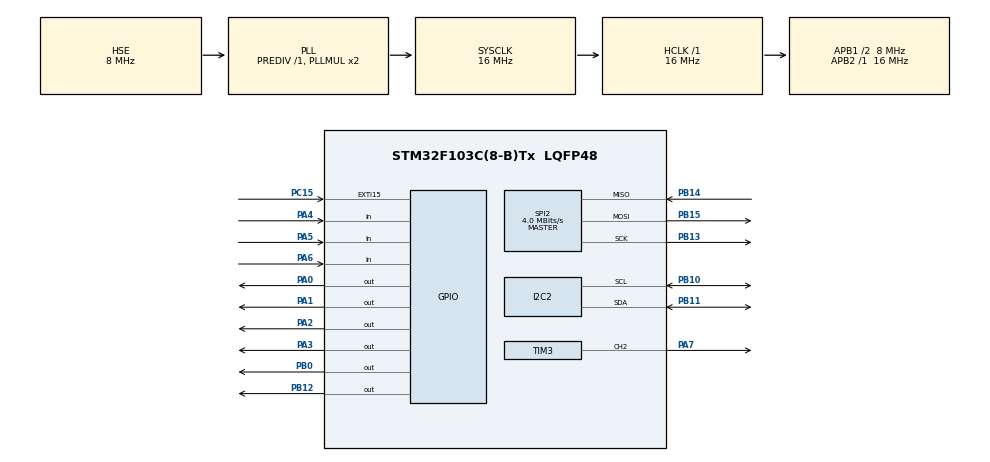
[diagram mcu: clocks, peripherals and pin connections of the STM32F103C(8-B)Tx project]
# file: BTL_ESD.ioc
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I2C2.I2C_Mode=I2C_Fast
Mcu.Family=STM32F1
Mcu.Name=STM32F103C(8-B)Tx
Mcu.Package=LQFP48
NVIC.EXTI15_10_IRQn=true\:0\:0\:false\:false\:true\:true\:true\:true
NVIC.PriorityGroup=NVIC_PRIORITYGROUP_4
PA0-WKUP.Signal=GPIO_Output
PA1.Signal=GPIO_Output
PA13.Mode=Serial_Wire
PA13.Signal=SYS_JTMS-SWDIO
PA14.Mode=Serial_Wire
PA14.Signal=SYS_JTCK-SWCLK
PA2.Signal=GPIO_Output
PA3.Signal=GPIO_Output
PA4.GPIO_PuPd=GPIO_PULLUP
PA4.Signal=GPIO_Input
PA5.GPIO_PuPd=GPIO_PULLUP
PA5.Signal=GPIO_Input
PA6.GPIO_PuPd=GPIO_PULLUP
PA6.Signal=GPIO_Input
PA7.Signal=S_TIM3_CH2
PB0.Signal=GPIO_Output
PB10.Mode=I2C
PB10.Signal=I2C2_SCL
PB11.Mode=I2C
PB11.Signal=I2C2_SDA
PB12.Signal=GPIO_Output
PB13.Mode=Full_Duplex_Master
PB13.Signal=SPI2_SCK
PB14.Mode=Full_Duplex_Master
PB14.Signal=SPI2_MISO
PB15.Mode=Full_Duplex_Master
PB15.Signal=SPI2_MOSI
PC15-OSC32_OUT.GPIO_ModeDefaultEXTI=GPIO_MODE_IT_FALLING
PC15-OSC32_OUT.GPIO_PuPd=GPIO_PULLUP
PC15-OSC32_OUT.Signal=GPXTI15
PD0-OSC_IN.Mode=HSE-External-Oscillator
PD0-OSC_IN.Signal=RCC_OSC_IN
PD1-OSC_OUT.Mode=HSE-External-Oscillator
PD1-OSC_OUT.Signal=RCC_OSC_OUT
ProjectManager.HeapSize=0x200
ProjectManager.StackSize=0x400
ProjectManager.TargetToolchain=MDK-ARM V5.32
RCC.AHBFreq_Value=16000000
RCC.APB1CLKDivider=RCC_HCLK_DIV2
RCC.APB1Freq_Value=8000000
RCC.APB1TimFreq_Value=16000000
RCC.APB2Freq_Value=16000000
RCC.APB2TimFreq_Value=16000000
RCC.HCLKFreq_Value=16000000
RCC.PLLSourceVirtual=RCC_PLLSOURCE_HSE
RCC.SYSCLKFreq_VALUE=16000000
RCC.SYSCLKSource=RCC_SYSCLKSOURCE_PLLCLK
RCC.USBFreq_Value=16000000
SH.S_TIM3_CH2.0=TIM3_CH2,PWM Generation2 CH2
SPI2.CalculateBaudRate=4.0 MBits/s
SPI2.Direction=SPI_DIRECTION_2LINES
SPI2.Mode=SPI_MODE_MASTER
SPI2.VirtualType=VM_MASTER
TIM3.Channel-PWM\ Generation2\ CH2=TIM_CHANNEL_2
TIM3.OCPolarity_2=TIM_OCPOLARITY_HIGH
TIM3.Period=19999
TIM3.Prescaler=15
VP_TIM3_VS_ClockSourceINT.Mode=Internal
board=custom

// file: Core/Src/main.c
/* USER CODE BEGIN Header */
/**
  ******************************************************************************
  * @file           : main.c
  * @brief          : Main program body
  ******************************************************************************
  * @attention
  *
  * Copyright (c) 2024 STMicroelectronics.
  * All rights reserved.
  *
  * This software is licensed under terms that can be found in the LICENSE file
  * in the root directory of this software component.
  * If no LICENSE file comes with this software, it is provided AS-IS.
  *
  ******************************************************************************
  */
/* USER CODE END Header */
#include "main.h"

/* USER CODE BEGIN Includes */
#include "string.h"
#include "stdio.h"
#include "flash.h"
#include "rc522.h"

/* USER CODE END Includes */

/* USER CODE BEGIN PD */
#define LCD_BACKLIGHT 0x08     // Turn on light
#define LCD_NOBACKLIGHT 0x00  // Turn off light
#define addr_pcf8574 0x4E
#define address_so_luong_the_storage 0x08000000 + 61*1024 //page 61
#define address_password_storage 0x08000000 + 62*1024	//page 62
//
#define address_master_card_delete_storage 0x08000000 + 63*1024 //page 63
#define address_master_card_add_storage 0x08000000 + 64*1024 //page 64
//
/* USER CODE END PD */

I2C_HandleTypeDef hi2c2;

SPI_HandleTypeDef hspi2;

TIM_HandleTypeDef htim3;

void SystemClock_Config(void);
static void MX_GPIO_Init(void);
static void MX_TIM3_Init(void);
static void MX_SPI2_Init(void);
static void MX_I2C2_Init(void);
/* USER CODE BEGIN PFP */
void send_command(uint8_t data) {
	uint8_t buf[4] = {
        (data & 0xF0) | 0x04 | LCD_BACKLIGHT, // 4 bit hight + EN = 1 + Backlight
        (data & 0xF0) | LCD_BACKLIGHT,       // 4 bit hight + EN = 0 + Backlight
        (data << 4) | 0x04 | LCD_BACKLIGHT,  // 4 bit low + EN = 1 + Backlight
        (data << 4) | LCD_BACKLIGHT          // 4 bit low + EN = 0 + Backlight
    };
    HAL_I2C_Master_Transmit(&hi2c2, addr_pcf8574, buf, 4, HAL_MAX_DELAY);
}
//
void send_data(uint8_t data) {
    uint8_t buf[4] = {
        (data & 0xF0) | 0x05 |LCD_BACKLIGHT, // 4 bit hight + RS=1 + EN=1 + Backlight
        (data & 0xF0) | 0x01 | LCD_BACKLIGHT, // 4 bit hight + RS=1 + EN=0 + Backlight
        (data << 4) | 0x05 | LCD_BACKLIGHT,   // 4 bit low + RS=1 + EN=1 + Backlight
        (data << 4) | 0x01 | LCD_BACKLIGHT    // 4 bit low + RS=1 + EN=0 + Backlight
    };
    HAL_I2C_Master_Transmit(&hi2c2, addr_pcf8574, buf, 4, HAL_MAX_DELAY);
}
//
void LCD_Init()
{
	send_command(0x33); //lenh de khoi tao
	send_command(0x32); //lenh de khoi tao
	send_command(0x28); // 4bit,2hang, font 5x7
	send_command(0x0C); //hien thi man hinh va tat con tro
	send_command(0x06); //tang con tro
	send_command(0x01); // xoa man hinh
	HAL_Delay(1);
}
//ham xoa man hinh
void LCD_CLEAR_SCREEN()
{
	send_command(0x01);
	HAL_Delay(1);
}
// ham chon vi tri hien thi
void LCD_LOCATION(uint8_t x,uint8_t y) // x la hang, y la cot
{
if (x==1)
	send_command(0x80+y);
else if(x==2)
	send_command(0xC0+y);

}
//ham ghi chuoi
void LCD_WRITE_STRING(char *string)
{
	for (uint8_t i=0;i<strlen(string);i++)
	{
		send_data(string[i]);
	}
}
// ham ghi so
void LCD_WRITE_NUMBER(int number)
{
	char buffer[8];
	sprintf(buffer,"%d",number);
	LCD_WRITE_STRING(buffer);
}
//HAM CHAY CHUOI TU PHAI QUA TRAI
void data_run(uint8_t a,int speed,char* chuoi)
{
	int count=strlen(chuoi); //chieu dai cua chuoi
	char destination[count]; //mang chua chuoi
	strcpy(destination, chuoi);//dua chuoi vao mang
	for (int i=0;i<=count;i++)

		{
			LCD_LOCATION(a,0);
			for (int j=i;j<i+16;j++)
			{

				send_data(destination[j]);
				HAL_Delay(1);
				if(j==count-1)goto EXIT;
			}
			HAL_Delay(speed);
		}
		EXIT:;
}

//HAM QUET KEYPAB
	uint8_t SCAN()
{
uint8_t KEY=255;
	while(1)
{
	//DOC HANG 1
	HAL_GPIO_WritePin(GPIOA,(GPIO_PIN_0|GPIO_PIN_1|GPIO_PIN_2|GPIO_PIN_3),GPIO_PIN_SET);
	HAL_GPIO_WritePin(GPIOA,GPIO_PIN_0,GPIO_PIN_RESET);
	if((HAL_GPIO_ReadPin(GPIOA,GPIO_PIN_4))==0)
	{
			HAL_Delay(20);
			while((HAL_GPIO_ReadPin(GPIOA,GPIO_PIN_4))==0){}
			KEY=1;
		return KEY;

	}
	if((HAL_GPIO_ReadPin(GPIOA,GPIO_PIN_5))==0)
	{
		HAL_Delay(20);
		while((HAL_GPIO_ReadPin(GPIOA,GPIO_PIN_5))==0){}
		KEY=2;
		return KEY;
	}
	if((HAL_GPIO_ReadPin(GPIOA,GPIO_PIN_6))==0)
	{
		HAL_Delay(20);
		while((HAL_GPIO_ReadPin(GPIOA,GPIO_PIN_6))==0){}
		KEY=3;
		return KEY;
	}
	//DOC HANG 2
	HAL_GPIO_WritePin(GPIOA,(GPIO_PIN_0|GPIO_PIN_1|GPIO_PIN_2|GPIO_PIN_3),GPIO_PIN_SET);
	HAL_GPIO_WritePin(GPIOA,GPIO_PIN_1,GPIO_PIN_RESET);
	if((HAL_GPIO_ReadPin(GPIOA,GPIO_PIN_4))==0)
	{
		HAL_Delay(20);
		while((HAL_GPIO_ReadPin(GPIOA,GPIO_PIN_4))==0){}
		KEY=4;
		return KEY;
	}
	if((HAL_GPIO_ReadPin(GPIOA,GPIO_PIN_5))==0)
	{
		HAL_Delay(20);
		while((HAL_GPIO_ReadPin(GPIOA,GPIO_PIN_5))==0){}
		KEY=5;
		return KEY;
	}
	if((HAL_GPIO_ReadPin(GPIOA,GPIO_PIN_6))==0)
	{
		HAL_Delay(20);
		while((HAL_GPIO_ReadPin(GPIOA,GPIO_PIN_6))==0){}
		KEY=6;
		return KEY;
	}
	//DOC HANG 3
	HAL_GPIO_WritePin(GPIOA,(GPIO_PIN_0|GPIO_PIN_1|GPIO_PIN_2|GPIO_PIN_3),GPIO_PIN_SET);
	HAL_GPIO_WritePin(GPIOA,GPIO_PIN_2,GPIO_PIN_RESET);
	if((HAL_GPIO_ReadPin(GPIOA,GPIO_PIN_4))==0)
	{
		HAL_Delay(20);
		while((HAL_GPIO_ReadPin(GPIOA,GPIO_PIN_4))==0){}
		KEY=7;
		return KEY;
	}
	if((HAL_GPIO_ReadPin(GPIOA,GPIO_PIN_5))==0)
	{
		HAL_Delay(20);
		while((HAL_GPIO_ReadPin(GPIOA,GPIO_PIN_5))==0){}
		KEY=8;
		return KEY;
	}
	if((HAL_GPIO_ReadPin(GPIOA,GPIO_PIN_6))==0)
	{
		HAL_Delay(20);
		while((HAL_GPIO_ReadPin(GPIOA,GPIO_PIN_6))==0){}
		KEY=9;
		return KEY;
	}
	// DOC HANG 4
	HAL_GPIO_WritePin(GPIOA,(GPIO_PIN_0|GPIO_PIN_1|GPIO_PIN_2|GPIO_PIN_3),GPIO_PIN_SET);
	HAL_GPIO_WritePin(GPIOA,GPIO_PIN_3,GPIO_PIN_RESET);
	if((HAL_GPIO_ReadPin(GPIOA,GPIO_PIN_4))==0)
	{
		HAL_Delay(20);
		while((HAL_GPIO_ReadPin(GPIOA,GPIO_PIN_4))==0){}
		KEY=23; //MODE
		return KEY;
	}
	if((HAL_GPIO_ReadPin(GPIOA,GPIO_PIN_5))==0)
	{
		HAL_Delay(20);
		while((HAL_GPIO_ReadPin(GPIOA,GPIO_PIN_5))==0){}
		KEY=0;
		return KEY;
	}
	if((HAL_GPIO_ReadPin(GPIOA,GPIO_PIN_6))==0)
	{
		HAL_Delay(20);
		while((HAL_GPIO_ReadPin(GPIOA,GPIO_PIN_6))==0){}
		KEY=24;//CLEAR
		return KEY;
	}
	return 25;
}
}
// TAO HAM QUET 6 KI TU, HIEN THI RA MAN HINH DAU"*" KHI CO PHIM NHAN VA TAO MANG PASS CHECK DE SO SANH VOI PASSWORD
void pass_array(uint8_t PASSCHECK[6])
{

		int i=0;
		int j=0;
		while(1)
		{

			uint8_t KEY=255;
	//DOC HANG 1
	HAL_GPIO_WritePin(GPIOA,(GPIO_PIN_0|GPIO_PIN_1|GPIO_PIN_2|GPIO_PIN_3),GPIO_PIN_SET);
	HAL_GPIO_WritePin(GPIOA,GPIO_PIN_0,GPIO_PIN_RESET);
	if((HAL_GPIO_ReadPin(GPIOA,GPIO_PIN_4))==0)
	{
			HAL_Delay(100);
			while((HAL_GPIO_ReadPin(GPIOA,GPIO_PIN_4))==0){}
			KEY=1;
		PASSCHECK[i]=KEY;
				i++;
				if(i==j+1){
				j++;
				LCD_LOCATION(2,j+4);
				LCD_WRITE_STRING("*");
				HAL_Delay(2);
				}
				if(i>5)
				{goto AA;}

	}
	if((HAL_GPIO_ReadPin(GPIOA,GPIO_PIN_5))==0)
	{
		HAL_Delay(100);
		while((HAL_GPIO_ReadPin(GPIOA,GPIO_PIN_5))==0){}
		KEY=2;
		PASSCHECK[i]=KEY;
				i++;
				if(i==j+1){
				j++;
				LCD_LOCATION(2,j+4);
				LCD_WRITE_STRING("*");
				HAL_Delay(2);
				}
				if(i>5)
				{goto AA;}
	}
	if((HAL_GPIO_ReadPin(GPIOA,GPIO_PIN_6))==0)
	{
		HAL_Delay(100);
		while((HAL_GPIO_ReadPin(GPIOA,GPIO_PIN_6))==0){}
		KEY=3;
		PASSCHECK[i]=KEY;
				i++;
				if(i==j+1){
				j++;
				LCD_LOCATION(2,j+4);
				LCD_WRITE_STRING("*");
				HAL_Delay(2);
				}
				if(i>5)
				{goto AA;}
	}
	//DOC HANG 2
	HAL_GPIO_WritePin(GPIOA,(GPIO_PIN_0|GPIO_PIN_1|GPIO_PIN_2|GPIO_PIN_3),GPIO_PIN_SET);
	HAL_GPIO_WritePin(GPIOA,GPIO_PIN_1,GPIO_PIN_RESET);
	if((HAL_GPIO_ReadPin(GPIOA,GPIO_PIN_4))==0)
	{
		HAL_Delay(100);
		while((HAL_GPIO_ReadPin(GPIOA,GPIO_PIN_4))==0){}
		KEY=4;
		PASSCHECK[i]=KEY;
				i++;
				if(i==j+1){
				j++;
				LCD_LOCATION(2,j+4);
				LCD_WRITE_STRING("*");
				HAL_Delay(2);
				}
				if(i>5)
				{goto AA;}
	}
	if((HAL_GPIO_ReadPin(GPIOA,GPIO_PIN_5))==0)
	{
		HAL_Delay(100);
		while((HAL_GPIO_ReadPin(GPIOA,GPIO_PIN_5))==0){}
		KEY=5;
		PASSCHECK[i]=KEY;
				i++;
				if(i==j+1){
				j++;
				LCD_LOCATION(2,j+4);
				LCD_WRITE_STRING("*");
				HAL_Delay(2);
				}
				if(i>5)
				{goto AA;}
	}
	if((HAL_GPIO_ReadPin(GPIOA,GPIO_PIN_6))==0)
	{
		HAL_Delay(100);
		while((HAL_GPIO_ReadPin(GPIOA,GPIO_PIN_6))==0){}
		KEY=6;
		PASSCHECK[i]=KEY;
				i++;
				if(i==j+1){
				j++;
				LCD_LOCATION(2,j+4);
				LCD_WRITE_STRING("*");
				HAL_Delay(2);
				}
				if(i>5)
				{goto AA;}
	}
	//DOC HANG 3
	HAL_GPIO_WritePin(GPIOA,(GPIO_PIN_0|GPIO_PIN_1|GPIO_PIN_2|GPIO_PIN_3),GPIO_PIN_SET);
	HAL_GPIO_WritePin(GPIOA,GPIO_PIN_2,GPIO_PIN_RESET);
	if((HAL_GPIO_ReadPin(GPIOA,GPIO_PIN_4))==0)
	{
		HAL_Delay(100);
		while((HAL_GPIO_ReadPin(GPIOA,GPIO_PIN_4))==0){}
		KEY=7;
		PASSCHECK[i]=KEY;
				i++;
				if(i==j+1){
				j++;
				LCD_LOCATION(2,j+4);
				LCD_WRITE_STRING("*");
				HAL_Delay(2);
				}
				if(i>5)
				{goto AA;}
	}
	if((HAL_GPIO_ReadPin(GPIOA,GPIO_PIN_5))==0)
	{
		HAL_Delay(100);
		while((HAL_GPIO_ReadPin(GPIOA,GPIO_PIN_5))==0){}
		KEY=8;
		PASSCHECK[i]=KEY;
				i++;
				if(i==j+1){
				j++;
				LCD_LOCATION(2,j+4);
				LCD_WRITE_STRING("*");
				HAL_Delay(2);
				}
				if(i>5)
				{goto AA;}
	}
	if((HAL_GPIO_ReadPin(GPIOA,GPIO_PIN_6))==0)
	{
		HAL_Delay(100);
		while((HAL_GPIO_ReadPin(GPIOA,GPIO_PIN_6))==0){}
		KEY=9;
		PASSCHECK[i]=KEY;
				i++;
				if(i==j+1){
				j++;
				LCD_LOCATION(2,j+4);
				LCD_WRITE_STRING("*");
				HAL_Delay(2);
				}
				if(i>5)
				{goto AA;}
	}
	// DOC HANG 4
	HAL_GPIO_WritePin(GPIOA,(GPIO_PIN_0|GPIO_PIN_1|GPIO_PIN_2|GPIO_PIN_3),GPIO_PIN_SET);
	HAL_GPIO_WritePin(GPIOA,GPIO_PIN_3,GPIO_PIN_RESET);

	if((HAL_GPIO_ReadPin(GPIOA,GPIO_PIN_5))==0)
	{
		HAL_Delay(100);
		while((HAL_GPIO_ReadPin(GPIOA,GPIO_PIN_5))==0){}
		KEY=0;
		PASSCHECK[i]=KEY;
				i++;
				if(i==j+1){
				j++;
				LCD_LOCATION(2,j+4);
				LCD_WRITE_STRING("*");
				HAL_Delay(2);
				}
				if(i>5)
				{goto AA;}
	}

		}
		AA: ;
	}
// TAO HAM KIEM TRA 2 MANG CO GIONG NHAU KHONG
//NEU GIONG THI TRA VE 1, KHAC THI TRA VE 0
uint8_t CHECK_ARRAY(uint8_t PASS_W[],uint8_t b[],size_t size)
{
		int a=1;
		for (size_t i = 0; i < size; ++i)
		{
        if (PASS_W[i]!=b[i])
				{
					a=0;
					break;
				}
    }
		return a;
}

// DEFAULT PASSWORD
uint8_t PASS[6]={0,0,0,0,0,0};
//
uint8_t c[6]={0};
uint8_t A[6]={0};
uint8_t d[6]={0};
uint8_t Check[6]={0};
uint8_t str[MAX_LEN];
volatile int count=0;

static uint8_t master_add[5]={0x0A, 0xFB, 0x7C ,0x00 ,0x8D};
static uint8_t master_delete[5]={0x73, 0xDF, 0x0C ,0xF5 ,0x55};
//
// HAM DOI MAT KHAU
void CHANGE_PASS()
{
	FF:;
	LCD_CLEAR_SCREEN();
	HAL_Delay(1);
	LCD_LOCATION(1,1);
	LCD_WRITE_STRING("RESET PASSWORD!");
	HAL_Delay(2000);
	LCD_CLEAR_SCREEN();
	HAL_Delay(500);
	data_run(1,200,"   PRESS ANY KEY TO CONFIRM OR PRESS '#' TO EXIT");
	while (1)
	{
		uint8_t a=SCAN();
		if(a==24)
		{
			goto exit;
		}
		if(a!=25)
		{
			break;
		}
	}
	while(1)
	{
		LCD_CLEAR_SCREEN();
		HAL_Delay(1);
		LCD_LOCATION(1,2);
		LCD_WRITE_STRING("Old Password!");
		HAL_Delay(200);

		uint8_t A[6];
		pass_array(A);
		HAL_Delay(200);
		uint8_t check[6];
		Flash_Read_Array(address_password_storage, check,6);
		if(CHECK_ARRAY(check,A,6)==1)
		{
			LCD_LOCATION(2,0);
			LCD_WRITE_STRING("                ");
			LCD_LOCATION(2,5);
			LCD_WRITE_STRING("CORRECT");
		HAL_GPIO_WritePin(GPIOB,GPIO_PIN_0,GPIO_PIN_SET);
		HAL_Delay(100);
		HAL_GPIO_WritePin(GPIOB,GPIO_PIN_0,GPIO_PIN_RESET);
		HAL_Delay(200);
		HAL_GPIO_WritePin(GPIOB,GPIO_PIN_0,GPIO_PIN_SET);
		HAL_Delay(100);
		HAL_GPIO_WritePin(GPIOB,GPIO_PIN_0,GPIO_PIN_RESET);
			HAL_Delay(1000);
		}
		else{
			LCD_LOCATION(2,0);
			LCD_WRITE_STRING("                ");
			LCD_LOCATION(2,6);
			LCD_WRITE_STRING("FAIL");
		HAL_GPIO_WritePin(GPIOB,GPIO_PIN_0,GPIO_PIN_SET);
		HAL_Delay(500);
		HAL_GPIO_WritePin(GPIOB,GPIO_PIN_0,GPIO_PIN_RESET);
			HAL_Delay(1000);
			goto FF;
		}
		AA:;
		LCD_CLEAR_SCREEN();
		HAL_Delay(1);
		LCD_LOCATION(1,2);
		LCD_WRITE_STRING("New Password");
		HAL_Delay(100);
		pass_array(c);
		HAL_Delay(200);
		LCD_CLEAR_SCREEN();
		HAL_Delay(1);
		LCD_LOCATION(1,1);
		LCD_WRITE_STRING("Re_New Password");
		HAL_Delay(100);
		pass_array(d);
		HAL_Delay(200);
		///check
		if(CHECK_ARRAY(c,d,6)==0)
									{
										LCD_CLEAR_SCREEN();
										HAL_Delay(1);
										LCD_LOCATION(1,3);
										LCD_WRITE_STRING("NOT MATCH !!");
						HAL_GPIO_WritePin(GPIOB,GPIO_PIN_0,GPIO_PIN_SET);
						HAL_Delay(500);
						HAL_GPIO_WritePin(GPIOB,GPIO_PIN_0,GPIO_PIN_RESET);
										HAL_Delay(2000);
										goto AA;
									}
		if(CHECK_ARRAY(c,d,6)==1)
		{
										Flash_Erase(address_password_storage);
										Flash_Write_Array(address_password_storage, c, 6);
										LCD_CLEAR_SCREEN();
										HAL_Delay(1);
										LCD_LOCATION(1,3);
										LCD_WRITE_STRING("Successful!");
		HAL_GPIO_WritePin(GPIOB,GPIO_PIN_0,GPIO_PIN_SET);
		HAL_Delay(200);
		HAL_GPIO_WritePin(GPIOB,GPIO_PIN_0,GPIO_PIN_RESET);
		HAL_Delay(200);
		HAL_GPIO_WritePin(GPIOB,GPIO_PIN_0,GPIO_PIN_SET);
		HAL_Delay(200);
		HAL_GPIO_WritePin(GPIOB,GPIO_PIN_0,GPIO_PIN_RESET);
		HAL_Delay(300);
		HAL_GPIO_WritePin(GPIOB,GPIO_PIN_0,GPIO_PIN_SET);
		HAL_Delay(400);
		HAL_GPIO_WritePin(GPIOB,GPIO_PIN_0,GPIO_PIN_RESET);
		HAL_Delay(1000);
		count=0;

		}
		///
	break;
	}
		exit:;
	LCD_CLEAR_SCREEN();
	HAL_Delay(1);
	}
/* USER CODE END PFP */

int main(void)
{

  /* MCU Configuration--------------------------------------------------------*/

  /* Reset of all peripherals, Initializes the Flash interface and the Systick. */
  HAL_Init();

  /* Configure the system clock */
  SystemClock_Config();

  /* Initialize all configured peripherals */
  MX_GPIO_Init();
  MX_TIM3_Init();
  MX_SPI2_Init();
  MX_I2C2_Init();
  /* USER CODE BEGIN 2 */
	LCD_Init();
	HAL_TIM_PWM_Start(&htim3,TIM_CHANNEL_2);
	MFRC522_Init();

  /* USER CODE END 2 */

  /* Infinite loop */
  while (1)
  {

    /* USER CODE BEGIN 3 */
		//
		LCD_CLEAR_SCREEN();
		HAL_Delay(1);
		LCD_LOCATION(1,5);
		LCD_WRITE_STRING("Welcome");
		HAL_Delay(500);
		//
		while(1)
		{
			if(SCAN()!=25)
			{
				goto KEYPAB;
			}
			else{
				goto RFID;
			}
		}
		//keypab begin
		KEYPAB:;

		while(1)
				{
				LCD_LOCATION(2,1);
				LCD_WRITE_STRING(" Press Any Key");
				HAL_GPIO_WritePin(GPIOA,GPIO_PIN_3,GPIO_PIN_RESET);
				if(HAL_GPIO_ReadPin(GPIOA,GPIO_PIN_4)==0)
				{
					HAL_Delay(5000);
					if(HAL_GPIO_ReadPin(GPIOA,GPIO_PIN_4)==0)
					{
						CHANGE_PASS();
						break;
					}
				}
				//

				uint8_t b=SCAN();
				if(b!=25)
				{
					LCD_LOCATION(2,1);
					LCD_WRITE_STRING("                   ");
					break;
				}
				//
			}

		LCD_LOCATION(1,0);
		LCD_WRITE_STRING("                     ");
		LCD_LOCATION(1,1);
		LCD_WRITE_STRING("Enter Password");
		pass_array(A);
		Flash_Read_Array(address_password_storage, Check,6);
		if(CHECK_ARRAY(Check,A,6)==1)
		{

			HAL_Delay(200);
			LCD_LOCATION(2,4);
			LCD_WRITE_STRING("Correct !");
			count=0;
			HAL_GPIO_WritePin(GPIOB,GPIO_PIN_0,GPIO_PIN_SET);
			HAL_Delay(100);
			HAL_GPIO_WritePin(GPIOB,GPIO_PIN_0,GPIO_PIN_RESET);
			HAL_Delay(200);
			HAL_GPIO_WritePin(GPIOB,GPIO_PIN_0,GPIO_PIN_SET);
			HAL_Delay(100);
			HAL_GPIO_WritePin(GPIOB,GPIO_PIN_0,GPIO_PIN_RESET);
			HAL_Delay(500);
			LCD_LOCATION(2,0);
			LCD_WRITE_STRING("                   ");
			LCD_LOCATION(2,1);
			LCD_WRITE_STRING(" Door Unlocked");
			TIM3->CCR2=(0.36*20000)/20; //so ms xung o muc cao_Duty Cycle --> CCR = (Duty_Cycle_ms*ARR)/20ms
			//HAL_Delay(1000);
			HAL_Delay(1500);
			LCD_CLEAR_SCREEN();
			HAL_Delay(1);
			LCD_LOCATION(1,1);
			LCD_WRITE_STRING("Door will lock");
			HAL_Delay(100);
			LCD_LOCATION(2,3);
			LCD_WRITE_STRING("in   second");
			HAL_Delay(100);
			for (int i=9;i>-1;i--)
			{
				LCD_LOCATION(2,6);
				LCD_WRITE_NUMBER(i);
				HAL_Delay(1000);
			}
			TIM3->CCR2=(2.35*20000)/20; //so ms xung o muc cao_Duty Cycle --> CCR = (Duty_Cycle_ms*ARR)/20ms
			//HAL_Delay(1000);
			HAL_GPIO_WritePin(GPIOB,GPIO_PIN_0,GPIO_PIN_SET);
			HAL_Delay(300);
			HAL_GPIO_WritePin(GPIOB,GPIO_PIN_0,GPIO_PIN_RESET);
			LCD_CLEAR_SCREEN();
			HAL_Delay(1);
		}
		else{
			count++;
			HAL_Delay(200);
			LCD_LOCATION(2,2);
			LCD_WRITE_STRING("Incorrect !!");
			HAL_Delay(500);
			if(count>3)
			{
				HAL_GPIO_WritePin(GPIOB,GPIO_PIN_0,GPIO_PIN_SET);
				HAL_Delay(100);
				HAL_GPIO_WritePin(GPIOB,GPIO_PIN_0,GPIO_PIN_RESET);
				for (int j=0;j<count;j++)
				{
					LCD_CLEAR_SCREEN();
					HAL_Delay(500);
					LCD_LOCATION(1,3);
					LCD_WRITE_STRING("Warning!!!");
					HAL_Delay(500);
				}
				HAL_GPIO_WritePin(GPIOB,GPIO_PIN_0,GPIO_PIN_SET);
				HAL_Delay(count/2*10000);
				HAL_GPIO_WritePin(GPIOB,GPIO_PIN_0,GPIO_PIN_RESET);

				goto WW;
			}
		HAL_GPIO_WritePin(GPIOB,GPIO_PIN_0,GPIO_PIN_SET);
		HAL_Delay(500);
		HAL_GPIO_WritePin(GPIOB,GPIO_PIN_0,GPIO_PIN_RESET);
		}
		//
		WW:;

		//keypab end

		//////
		RFID:;
if(!MFRC522_Request(PICC_REQIDL,str))
		{
			if(!MFRC522_Anticoll(str)){
			/// Do ....
					uint8_t sl=	Flash_Read_uint(address_so_luong_the_storage);
				/// add card
					if(CHECK_ARRAY(master_add,str,5)==1)
					{
						HAL_GPIO_WritePin(GPIOB,GPIO_PIN_0,GPIO_PIN_SET);
						HAL_Delay(100);
						HAL_GPIO_WritePin(GPIOB,GPIO_PIN_0,GPIO_PIN_RESET);
						LCD_CLEAR_SCREEN();
						LCD_LOCATION(1,4);
						LCD_WRITE_STRING("Add card");
						HAL_Delay(2000);
						LCD_CLEAR_SCREEN();
						LCD_LOCATION(1,2);
						LCD_WRITE_STRING("Put your card");
						HAL_Delay(500);
						while(1)
							{
									if(!MFRC522_Request(PICC_REQIDL,str))
										{
											if(!MFRC522_Anticoll(str))
												{
												/// Do ....

													if((CHECK_ARRAY(master_add,str,5)==1)|(CHECK_ARRAY(master_delete,str,5)==1))
													{
														LCD_CLEAR_SCREEN();
														HAL_Delay(1000);
														goto TT;
													}
													uint8_t ID_check[5];

													for(int i=0;i<sl;i++)
													{
															Flash_Read_Array(0x08000000 + ((65+i)*1024), ID_check,5);
															if(CHECK_ARRAY(ID_check,str,5)==1)
															{
																LCD_LOCATION(2,1);
																LCD_WRITE_STRING("Card was added!");
																HAL_GPIO_WritePin(GPIOB,GPIO_PIN_0,GPIO_PIN_SET);
																HAL_Delay(300);
																HAL_GPIO_WritePin(GPIOB,GPIO_PIN_0,GPIO_PIN_RESET);
																HAL_Delay(2000);
																LCD_LOCATION(2,0);
																LCD_WRITE_STRING("                 ");
																	goto GG;
															}
													}

														Flash_Erase(0x08000000 + (65+sl)*1024);
														Flash_Write_Array(0x08000000 + (65+sl)*1024,str, 5);

														Flash_Erase(address_so_luong_the_storage);
														Flash_Write_uint(address_so_luong_the_storage,sl+1);
														LCD_LOCATION(2,2);
														LCD_WRITE_STRING("Successfull!");
														HAL_GPIO_WritePin(GPIOB,GPIO_PIN_0,GPIO_PIN_SET);
														HAL_Delay(100);
														HAL_GPIO_WritePin(GPIOB,GPIO_PIN_0,GPIO_PIN_RESET);
														HAL_Delay(100);
														HAL_GPIO_WritePin(GPIOB,GPIO_PIN_0,GPIO_PIN_SET);
														HAL_Delay(100);
														HAL_GPIO_WritePin(GPIOB,GPIO_PIN_0,GPIO_PIN_RESET);
														HAL_Delay(2000);
														LCD_CLEAR_SCREEN();
														HAL_Delay(1);

													goto TT;
													GG:;
												///
												}
										}
							}
					}
					///

					// delete_card
						if(CHECK_ARRAY(master_delete,str,5)==1)
					{
						HAL_GPIO_WritePin(GPIOB,GPIO_PIN_0,GPIO_PIN_SET);
						HAL_Delay(100);
						HAL_GPIO_WritePin(GPIOB,GPIO_PIN_0,GPIO_PIN_RESET);
						LCD_CLEAR_SCREEN();
						LCD_LOCATION(1,3);
						LCD_WRITE_STRING("Delete card");
						HAL_Delay(2000);
						LCD_CLEAR_SCREEN();
						LCD_LOCATION(1,2);
						LCD_WRITE_STRING("Put your card");
						HAL_Delay(500);
						while(1)
						{
							if(!MFRC522_Request(PICC_REQIDL,str))
							{
								if(!MFRC522_Anticoll(str))
								{
									//

											if((CHECK_ARRAY(master_add,str,5)==1)|(CHECK_ARRAY(master_delete,str,5)==1))
													{
														LCD_CLEAR_SCREEN();
														HAL_Delay(1000);
														goto TT;
													}
											uint8_t ID_check[5];
													for(int i=0;i<sl;i++)
													{
														Flash_Read_Array(0x08000000 + ((65+i)*1024), ID_check,5);
														if(CHECK_ARRAY(str,ID_check,5)==1)
														{
															goto UU;
														}
													}
													LCD_LOCATION(2,1);
													LCD_WRITE_STRING("Card not found!");
													HAL_GPIO_WritePin(GPIOB,GPIO_PIN_0,GPIO_PIN_SET);
													HAL_Delay(300);
													HAL_GPIO_WritePin(GPIOB,GPIO_PIN_0,GPIO_PIN_RESET);
													HAL_Delay(2000);
													LCD_LOCATION(2,1);
													LCD_WRITE_STRING("                   ");
													goto PP;
													UU:;
													for (int i=0;i<sl;i++)
													{
														Flash_Read_Array(0x08000000 + ((65+i)*1024), ID_check,5);
														if(CHECK_ARRAY(str,ID_check,5)==1)
														{
															Flash_Erase(0x08000000 + ((65+i)*1024));
															for (int j=i;j<sl-1;j++)
															{
																Flash_Read_Array(0x08000000 + ((65+j+1)*1024), ID_check,5);
																Flash_Write_Array(0x08000000 + ((65+j)*1024),ID_check,5);
																Flash_Erase(0x08000000 + ((65+j+1)*1024));
															}
															Flash_Erase(address_so_luong_the_storage);
															Flash_Write_uint(address_so_luong_the_storage,sl-1);
															break;
														}
													}
													LCD_LOCATION(2,0);
													LCD_WRITE_STRING("                ");
													LCD_LOCATION(2,3);
													LCD_WRITE_STRING("Deleted !!");
													HAL_GPIO_WritePin(GPIOB,GPIO_PIN_0,GPIO_PIN_SET);
													HAL_Delay(100);
													HAL_GPIO_WritePin(GPIOB,GPIO_PIN_0,GPIO_PIN_RESET);
													HAL_Delay(100);
													HAL_GPIO_WritePin(GPIOB,GPIO_PIN_0,GPIO_PIN_SET);
													HAL_Delay(100);
													HAL_GPIO_WritePin(GPIOB,GPIO_PIN_0,GPIO_PIN_RESET);
													HAL_Delay(2000);
													LCD_CLEAR_SCREEN();
													HAL_Delay(1);
													goto TT;
									//
								}
							}
							PP:;
						}
					}
					//
					// CHECK CARD
						if((CHECK_ARRAY(master_add,str,5)==0)&(CHECK_ARRAY(master_delete,str,5)==0))
					{
						uint8_t ID_check[5];
							for (int i=0;i<sl;i++)
							{
								Flash_Read_Array(0x08000000 + ((65+i)*1024), ID_check,5);
								if(CHECK_ARRAY(ID_check,str,5)==1)
								{
									LCD_LOCATION(2,3);
									LCD_WRITE_STRING("Card found");
									HAL_GPIO_WritePin(GPIOB,GPIO_PIN_0,GPIO_PIN_SET);
									HAL_Delay(100);
									HAL_GPIO_WritePin(GPIOB,GPIO_PIN_0,GPIO_PIN_RESET);
									count=0;
									HAL_Delay(1500);
									HAL_GPIO_WritePin(GPIOB,GPIO_PIN_0,GPIO_PIN_SET);
									HAL_Delay(100);
									HAL_GPIO_WritePin(GPIOB,GPIO_PIN_0,GPIO_PIN_RESET);
									HAL_Delay(200);
									HAL_GPIO_WritePin(GPIOB,GPIO_PIN_0,GPIO_PIN_SET);
									HAL_Delay(100);
									HAL_GPIO_WritePin(GPIOB,GPIO_PIN_0,GPIO_PIN_RESET);
									LCD_LOCATION(2,0);
									LCD_WRITE_STRING("                   ");
									LCD_LOCATION(2,1);
									LCD_WRITE_STRING(" Door Unlocked");
									TIM3->CCR2=(0.36*20000)/20; //so ms xung o muc cao_Duty Cycle --> CCR = (Duty_Cycle_ms*ARR)/20ms
									//HAL_Delay(1000);
									HAL_Delay(1500);
									LCD_CLEAR_SCREEN();
									HAL_Delay(1);
									LCD_LOCATION(1,1);
									LCD_WRITE_STRING("Door will lock");
									HAL_Delay(100);
									LCD_LOCATION(2,3);
									LCD_WRITE_STRING("in   second");
									HAL_Delay(100);
									for (int i=9;i>-1;i--)
									{
											LCD_LOCATION(2,6);
											LCD_WRITE_NUMBER(i);
											HAL_Delay(1000);
									}
									TIM3->CCR2=(2.35*20000)/20; //so ms xung o muc cao_Duty Cycle --> CCR = (Duty_Cycle_ms*ARR)/20ms
									//HAL_Delay(1000);
									HAL_GPIO_WritePin(GPIOB,GPIO_PIN_0,GPIO_PIN_SET);
									HAL_Delay(300);
									HAL_GPIO_WritePin(GPIOB,GPIO_PIN_0,GPIO_PIN_RESET);
									LCD_CLEAR_SCREEN();
									HAL_Delay(1);
									goto TT;
								}
							}
							LCD_LOCATION(2,1);
							LCD_WRITE_STRING("Card not found");
							HAL_GPIO_WritePin(GPIOB,GPIO_PIN_0,GPIO_PIN_SET);
							HAL_Delay(300);
							HAL_GPIO_WritePin(GPIOB,GPIO_PIN_0,GPIO_PIN_RESET);
							HAL_Delay(2000);
							LCD_CLEAR_SCREEN();
							HAL_Delay(1);
							TT:;

					}

			///
			}
		}
/////

  }
  /* USER CODE END 3 */
}

void SystemClock_Config(void)
{
  RCC_OscInitTypeDef RCC_OscInitStruct = {0};
  RCC_ClkInitTypeDef RCC_ClkInitStruct = {0};

  /** Initializes the RCC Oscillators according to the specified parameters
  * in the RCC_OscInitTypeDef structure.
  */
  RCC_OscInitStruct.OscillatorType = RCC_OSCILLATORTYPE_HSE;
  RCC_OscInitStruct.HSEState = RCC_HSE_ON;
  RCC_OscInitStruct.HSEPredivValue = RCC_HSE_PREDIV_DIV1;
  RCC_OscInitStruct.HSIState = RCC_HSI_ON;
  RCC_OscInitStruct.PLL.PLLState = RCC_PLL_ON;
  RCC_OscInitStruct.PLL.PLLSource = RCC_PLLSOURCE_HSE;
  RCC_OscInitStruct.PLL.PLLMUL = RCC_PLL_MUL2;
  if (HAL_RCC_OscConfig(&RCC_OscInitStruct) != HAL_OK)
  {
    Error_Handler();
  }

  /** Initializes the CPU, AHB and APB buses clocks
  */
  RCC_ClkInitStruct.ClockType = RCC_CLOCKTYPE_HCLK|RCC_CLOCKTYPE_SYSCLK
                              |RCC_CLOCKTYPE_PCLK1|RCC_CLOCKTYPE_PCLK2;
  RCC_ClkInitStruct.SYSCLKSource = RCC_SYSCLKSOURCE_PLLCLK;
  RCC_ClkInitStruct.AHBCLKDivider = RCC_SYSCLK_DIV1;
  RCC_ClkInitStruct.APB1CLKDivider = RCC_HCLK_DIV2;
  RCC_ClkInitStruct.APB2CLKDivider = RCC_HCLK_DIV1;

  if (HAL_RCC_ClockConfig(&RCC_ClkInitStruct, FLASH_LATENCY_0) != HAL_OK)
  {
    Error_Handler();
  }
}

static void MX_I2C2_Init(void)
{

  hi2c2.Instance = I2C2;
  hi2c2.Init.ClockSpeed = 400000;
  hi2c2.Init.DutyCycle = I2C_DUTYCYCLE_2;
  hi2c2.Init.OwnAddress1 = 0;
  hi2c2.Init.AddressingMode = I2C_ADDRESSINGMODE_7BIT;
  hi2c2.Init.DualAddressMode = I2C_DUALADDRESS_DISABLE;
  hi2c2.Init.OwnAddress2 = 0;
  hi2c2.Init.GeneralCallMode = I2C_GENERALCALL_DISABLE;
  hi2c2.Init.NoStretchMode = I2C_NOSTRETCH_DISABLE;
  if (HAL_I2C_Init(&hi2c2) != HAL_OK)
  {
    Error_Handler();
  }

}

static void MX_SPI2_Init(void)
{

  /* SPI2 parameter configuration*/
  hspi2.Instance = SPI2;
  hspi2.Init.Mode = SPI_MODE_MASTER;
  hspi2.Init.Direction = SPI_DIRECTION_2LINES;
  hspi2.Init.DataSize = SPI_DATASIZE_8BIT;
  hspi2.Init.CLKPolarity = SPI_POLARITY_LOW;
  hspi2.Init.CLKPhase = SPI_PHASE_1EDGE;
  hspi2.Init.NSS = SPI_NSS_SOFT;
  hspi2.Init.BaudRatePrescaler = SPI_BAUDRATEPRESCALER_2;
  hspi2.Init.FirstBit = SPI_FIRSTBIT_MSB;
  hspi2.Init.TIMode = SPI_TIMODE_DISABLE;
  hspi2.Init.CRCCalculation = SPI_CRCCALCULATION_DISABLE;
  hspi2.Init.CRCPolynomial = 10;
  if (HAL_SPI_Init(&hspi2) != HAL_OK)
  {
    Error_Handler();
  }

}

static void MX_TIM3_Init(void)
{

  TIM_ClockConfigTypeDef sClockSourceConfig = {0};
  TIM_MasterConfigTypeDef sMasterConfig = {0};
  TIM_OC_InitTypeDef sConfigOC = {0};

  htim3.Instance = TIM3;
  htim3.Init.Prescaler = 15;
  htim3.Init.CounterMode = TIM_COUNTERMODE_UP;
  htim3.Init.Period = 19999;
  htim3.Init.ClockDivision = TIM_CLOCKDIVISION_DIV1;
  htim3.Init.AutoReloadPreload = TIM_AUTORELOAD_PRELOAD_DISABLE;
  if (HAL_TIM_Base_Init(&htim3) != HAL_OK)
  {
    Error_Handler();
  }
  sClockSourceConfig.ClockSource = TIM_CLOCKSOURCE_INTERNAL;
  if (HAL_TIM_ConfigClockSource(&htim3, &sClockSourceConfig) != HAL_OK)
  {
    Error_Handler();
  }
  if (HAL_TIM_PWM_Init(&htim3) != HAL_OK)
  {
    Error_Handler();
  }
  sMasterConfig.MasterOutputTrigger = TIM_TRGO_RESET;
  sMasterConfig.MasterSlaveMode = TIM_MASTERSLAVEMODE_DISABLE;
  if (HAL_TIMEx_MasterConfigSynchronization(&htim3, &sMasterConfig) != HAL_OK)
  {
    Error_Handler();
  }
  sConfigOC.OCMode = TIM_OCMODE_PWM1;
  sConfigOC.Pulse = 0;
  sConfigOC.OCPolarity = TIM_OCPOLARITY_HIGH;
  sConfigOC.OCFastMode = TIM_OCFAST_DISABLE;
  if (HAL_TIM_PWM_ConfigChannel(&htim3, &sConfigOC, TIM_CHANNEL_2) != HAL_OK)
  {
    Error_Handler();
  }
  HAL_TIM_MspPostInit(&htim3);

}

static void MX_GPIO_Init(void)
{
  GPIO_InitTypeDef GPIO_InitStruct = {0};

  /* GPIO Ports Clock Enable */
  __HAL_RCC_GPIOC_CLK_ENABLE();
  __HAL_RCC_GPIOD_CLK_ENABLE();
  __HAL_RCC_GPIOA_CLK_ENABLE();
  __HAL_RCC_GPIOB_CLK_ENABLE();

  /*Configure GPIO pin Output Level */
  HAL_GPIO_WritePin(GPIOA, GPIO_PIN_0|GPIO_PIN_1|GPIO_PIN_2|GPIO_PIN_3, GPIO_PIN_RESET);

  /*Configure GPIO pin Output Level */
  HAL_GPIO_WritePin(GPIOB, GPIO_PIN_0|GPIO_PIN_12, GPIO_PIN_RESET);

  /*Configure GPIO pin : PC15 */
  GPIO_InitStruct.Pin = GPIO_PIN_15;
  GPIO_InitStruct.Mode = GPIO_MODE_IT_FALLING;
  GPIO_InitStruct.Pull = GPIO_PULLUP;
  HAL_GPIO_Init(GPIOC, &GPIO_InitStruct);

  /*Configure GPIO pins : PA0 PA1 PA2 PA3 */
  GPIO_InitStruct.Pin = GPIO_PIN_0|GPIO_PIN_1|GPIO_PIN_2|GPIO_PIN_3;
  GPIO_InitStruct.Mode = GPIO_MODE_OUTPUT_PP;
  GPIO_InitStruct.Pull = GPIO_NOPULL;
  GPIO_InitStruct.Speed = GPIO_SPEED_FREQ_LOW;
  HAL_GPIO_Init(GPIOA, &GPIO_InitStruct);

  /*Configure GPIO pins : PA4 PA5 PA6 */
  GPIO_InitStruct.Pin = GPIO_PIN_4|GPIO_PIN_5|GPIO_PIN_6;
  GPIO_InitStruct.Mode = GPIO_MODE_INPUT;
  GPIO_InitStruct.Pull = GPIO_PULLUP;
  HAL_GPIO_Init(GPIOA, &GPIO_InitStruct);

  /*Configure GPIO pins : PB0 PB12 */
  GPIO_InitStruct.Pin = GPIO_PIN_0|GPIO_PIN_12;
  GPIO_InitStruct.Mode = GPIO_MODE_OUTPUT_PP;
  GPIO_InitStruct.Pull = GPIO_NOPULL;
  GPIO_InitStruct.Speed = GPIO_SPEED_FREQ_LOW;
  HAL_GPIO_Init(GPIOB, &GPIO_InitStruct);

  /* EXTI interrupt init*/
  HAL_NVIC_SetPriority(EXTI15_10_IRQn, 0, 0);
  HAL_NVIC_EnableIRQ(EXTI15_10_IRQn);

}

void Error_Handler(void)
{
  __disable_irq();
  while (1)
  {
  }
}
